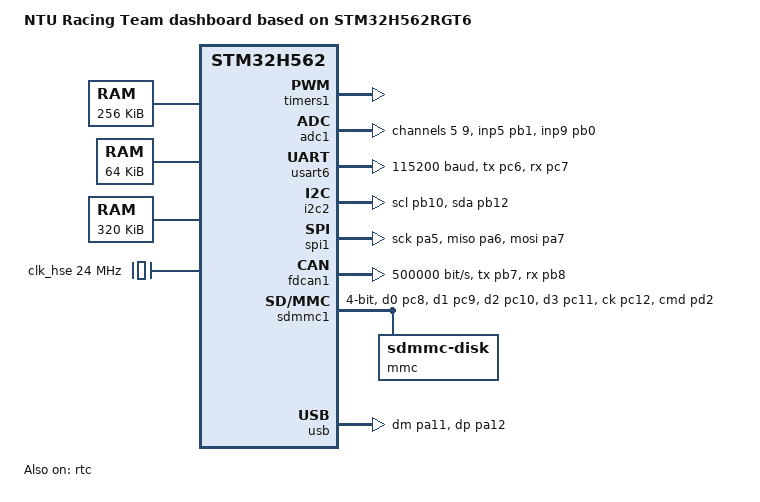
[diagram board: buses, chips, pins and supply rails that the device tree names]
/dts-v1/;
#include <mem.h>
#include <dt-bindings/pwm/stm32_pwm.h>
#include <st/h5/stm32h562.dtsi>
#include <st/h5/stm32h562rgtx-pinctrl.dtsi>

/ {
    model = "NTU Racing Team dashboard based on STM32H562RGT6";
    compatible = "nturt,dashboard";

    chosen {
        zephyr,console = &usart6;
        zephyr,shell-uart = &usart6;
        zephyr,sram = &sram1;
        zephyr,flash = &flash0;
        zephyr,canbus = &fdcan1;
        zephyr,code-partition = &slot0_partition;
    };

    sram1: memory@20000000 {
        compatible = "zephyr,memory-region", "mmio-sram";
        reg = <0x20000000 DT_SIZE_K(256)>;
        zephyr,memory-region = "SRAM1";
    };

    sram2: memory@20040000 {
        compatible = "zephyr,memory-region", "mmio-sram";
        reg = <0x20040000 DT_SIZE_K(64)>;
        zephyr,memory-region = "SRAM2";
    };

    sram3: memory@20050000 {
        compatible = "zephyr,memory-region", "mmio-sram";
        reg = <0x20050000 DT_SIZE_K(320)>;
        zephyr,memory-region = "SRAM3";
    };

    soc {
        flash-controller@40022000 {
            flash0: flash@8000000 {
                reg = <0x08000000 DT_SIZE_M(1)>;
            };
        };
    };
};

&flash0 {
    partitions {
        compatible = "fixed-partitions";
        #address-cells = <1>;
        #size-cells = <1>;

        boot_partition: partition@0 {
            label = "mcuboot";
            reg = <0x00000000 DT_SIZE_K(64)>;
        };

        slot0_partition: partition@10000 {
            label = "image-0";
            reg = <0x00010000 DT_SIZE_K(448)>;
        };

        slot1_partition: partition@80000 {
            label = "image-1";
            reg = <0x00080000 DT_SIZE_K(448)>;
        };

        storage_partition: partition@f0000 {
            label = "storage";
            reg = <0x000f0000 DT_SIZE_K(64)>;
        };
    };
};

&clk_hse {
    clock-frequency = <DT_FREQ_M(24)>;
    status = "okay";
};

&clk_hsi {
    status = "okay";
};

&clk_hsi48 {
    status = "okay";
};

&clk_csi {
    status = "okay";
};

&clk_lse {
    status = "okay";
};

&clk_lsi {
    status = "okay";
};

&pll1 {
    div-m = <6>;
    mul-n = <125>;
    div-p = <2>;
    div-q = <2>;
    div-r = <2>;
    clocks = <&clk_hse>;
    status = "okay";
};

&pll2 {
    div-m = <6>;
    mul-n = <120>;
    div-p = <2>;
    div-q = <2>;
    div-r = <10>;
    clocks = <&clk_hse>;
    status = "okay";
};

&pll3 {
    div-m = <6>;
    mul-n = <60>;
    div-p = <2>;
    div-q = <5>;
    div-r = <5>;
    clocks = <&clk_hse>;
    status = "okay";
};

&rcc {
    clocks = <&pll1>;
    clock-frequency = <DT_FREQ_M(250)>;
    ahb-prescaler = <1>;
    apb1-prescaler = <1>;
    apb2-prescaler = <1>;
    apb3-prescaler = <1>;
    status = "okay";
};

&timers1 {
    st,prescaler = <(2500 - 1)>;
    status = "okay";

    pwm1: pwm {
        pinctrl-0 = <&tim1_ch4n_pc5>;
        pinctrl-names = "default";
        status = "okay";
    };
};

&rtc {
    clocks = <&rcc STM32_CLOCK_BUS_APB3 0x00200000>,
             <&rcc STM32_SRC_LSE RTC_SEL(1)>;
    status = "okay";
};

&adc1 {
    pinctrl-0 = <&adc1_inp5_pb1 &adc1_inp9_pb0>;
    pinctrl-names = "default";
    st,adc-clock-source = <SYNC>;
    st,adc-prescaler = <4>;
    #address-cells = <1>;
    #size-cells = <0>;
    status = "okay";

    channel@5 {
        reg = <5>;
        zephyr,gain = "ADC_GAIN_1";
        zephyr,reference = "ADC_REF_INTERNAL";
        zephyr,acquisition-time = <ADC_ACQ_TIME(ADC_ACQ_TIME_TICKS, 248)>;
        zephyr,resolution = <12>;
    };

    channel@9 {
        reg = <9>;
        zephyr,gain = "ADC_GAIN_1";
        zephyr,reference = "ADC_REF_INTERNAL";
        zephyr,acquisition-time = <ADC_ACQ_TIME(ADC_ACQ_TIME_TICKS, 248)>;
        zephyr,resolution = <12>;
    };
};

&usart6 {
    pinctrl-0 = <&usart6_tx_pc6 &usart6_rx_pc7>;
    pinctrl-names = "default";
    current-speed = <115200>;
    status = "okay";
};

&i2c2 {
    clocks = <&rcc STM32_CLOCK_BUS_APB1 0x00400000>,
             <&rcc STM32_SRC_PLL3_R I2C2_SEL(1)>;
    pinctrl-0 = <&i2c2_scl_pb10 &i2c2_sda_pb12>;
    pinctrl-names = "default";
    status = "okay";
};

&spi1 {
    clocks = <&rcc STM32_CLOCK_BUS_APB2 0x00001000>,
             <&rcc STM32_SRC_PLL3_P SPI1_SEL(2)>;
    pinctrl-0 = <&spi1_sck_pa5 &spi1_miso_pa6 &spi1_mosi_pa7>;
    pinctrl-names = "default";
    cs-gpios = <&gpioc 4 (GPIO_ACTIVE_LOW | GPIO_PULL_UP)>;
    status = "okay";
};

&fdcan1 {
    clocks = <&rcc STM32_CLOCK_BUS_APB1_2 0x00000200>,
             <&rcc STM32_SRC_HSE FDCAN_SEL(0)>;
    pinctrl-0 = <&fdcan1_tx_pb7 &fdcan1_rx_pb8>;
    pinctrl-names = "default";
    bitrate = <500000>;
    sample-point = <800>;
    bitrate-data = <500000>;
    sample-point-data = <800>;
    status = "okay";
};

&sdmmc1 {
    clocks = <&rcc STM32_CLOCK_BUS_AHB4 0x00000800>,
             <&rcc STM32_SRC_PLL2_R SDMMC1_SEL(1)>;
    pinctrl-0 = <&sdmmc1_d0_pc8 &sdmmc1_d1_pc9 &sdmmc1_d2_pc10 &sdmmc1_d3_pc11
                 &sdmmc1_ck_pc12 &sdmmc1_cmd_pd2>;
    pinctrl-names = "default";
    bus-width = <4>;
    idma;
    status = "okay";

    // stm32 sdmmc driver already registers sdmmc as disk
    mmc {
        compatible = "zephyr,sdmmc-disk";
    };
};

zephyr_udc0: &usb {
    clocks = <&rcc STM32_CLOCK_BUS_APB2 0x01000000>,
             <&rcc STM32_SRC_PLL3_Q USB_SEL(2)>;
    pinctrl-0 = <&usb_dm_pa11 &usb_dp_pa12>;
    pinctrl-names = "default";
    status = "okay";
};
